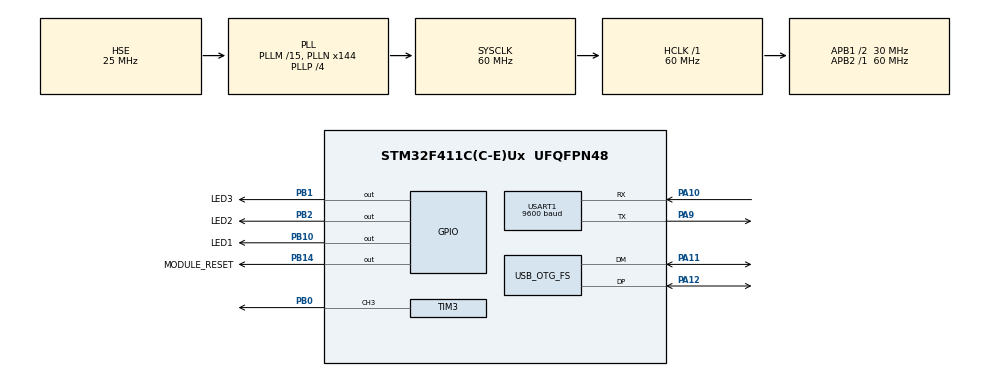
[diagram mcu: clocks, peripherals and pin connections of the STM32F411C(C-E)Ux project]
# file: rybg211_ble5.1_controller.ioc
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Dma.Request0=USART1_RX
Dma.Request1=USART1_TX
Dma.USART1_RX.0.Direction=DMA_PERIPH_TO_MEMORY
Dma.USART1_RX.0.FIFOMode=DMA_FIFOMODE_DISABLE
Dma.USART1_RX.0.Instance=DMA2_Stream2
Dma.USART1_RX.0.MemDataAlignment=DMA_MDATAALIGN_BYTE
Dma.USART1_RX.0.MemInc=DMA_MINC_ENABLE
Dma.USART1_RX.0.Mode=DMA_NORMAL
Dma.USART1_RX.0.PeriphDataAlignment=DMA_PDATAALIGN_BYTE
Dma.USART1_RX.0.PeriphInc=DMA_PINC_DISABLE
Dma.USART1_RX.0.Priority=DMA_PRIORITY_LOW
Dma.USART1_TX.1.Direction=DMA_MEMORY_TO_PERIPH
Dma.USART1_TX.1.FIFOMode=DMA_FIFOMODE_DISABLE
Dma.USART1_TX.1.Instance=DMA2_Stream7
Dma.USART1_TX.1.MemDataAlignment=DMA_MDATAALIGN_BYTE
Dma.USART1_TX.1.MemInc=DMA_MINC_ENABLE
Dma.USART1_TX.1.Mode=DMA_NORMAL
Dma.USART1_TX.1.PeriphDataAlignment=DMA_PDATAALIGN_BYTE
Dma.USART1_TX.1.PeriphInc=DMA_PINC_DISABLE
Dma.USART1_TX.1.Priority=DMA_PRIORITY_LOW
Mcu.Family=STM32F4
Mcu.Name=STM32F411C(C-E)Ux
Mcu.Package=UFQFPN48
NVIC.DMA2_Stream2_IRQn=true\:0\:0\:false\:false\:true\:false\:true\:true
NVIC.DMA2_Stream7_IRQn=true\:0\:0\:false\:false\:true\:false\:true\:true
NVIC.OTG_FS_IRQn=true\:0\:0\:false\:false\:true\:false\:true\:true
NVIC.PriorityGroup=NVIC_PRIORITYGROUP_4
NVIC.USART1_IRQn=true\:0\:0\:false\:false\:true\:true\:true\:true
PA10.Mode=Asynchronous
PA10.Signal=USART1_RX
PA11.Mode=Device_Only
PA11.Signal=USB_OTG_FS_DM
PA12.Mode=Device_Only
PA12.Signal=USB_OTG_FS_DP
PA13.Mode=Serial_Wire
PA13.Signal=SYS_JTMS-SWDIO
PA14.Mode=Serial_Wire
PA14.Signal=SYS_JTCK-SWCLK
PA9.Mode=Asynchronous
PA9.Signal=USART1_TX
PB0.Signal=S_TIM3_CH3
PB1.GPIO_Label=LED3
PB1.Signal=GPIO_Output
PB10.GPIO_Label=LED1
PB10.Signal=GPIO_Output
PB14.GPIO_Label=MODULE_RESET
PB14.Signal=GPIO_Output
PB2.GPIO_Label=LED2
PB2.Signal=GPIO_Output
PH0\ -\ OSC_IN.Mode=HSE-External-Oscillator
PH0\ -\ OSC_IN.Signal=RCC_OSC_IN
PH1\ -\ OSC_OUT.Mode=HSE-External-Oscillator
PH1\ -\ OSC_OUT.Signal=RCC_OSC_OUT
ProjectManager.HeapSize=0x200
ProjectManager.StackSize=0x400
ProjectManager.TargetToolchain=STM32CubeIDE
RCC.48MHZClocksFreq_Value=48000000
RCC.AHBFreq_Value=60000000
RCC.APB1CLKDivider=RCC_HCLK_DIV2
RCC.APB1Freq_Value=30000000
RCC.APB1TimFreq_Value=60000000
RCC.APB2Freq_Value=60000000
RCC.APB2TimFreq_Value=60000000
RCC.CortexFreq_Value=60000000
RCC.HCLKFreq_Value=60000000
RCC.HSE_VALUE=25000000
RCC.HSI_VALUE=16000000
RCC.LSE_VALUE=32768
RCC.PLLM=15
RCC.PLLN=144
RCC.PLLP=RCC_PLLP_DIV4
RCC.PLLQ=5
RCC.SYSCLKFreq_VALUE=60000000
RCC.SYSCLKSource=RCC_SYSCLKSOURCE_PLLCLK
RCC.VCOOutputFreq_Value=240000000
SH.S_TIM3_CH3.0=TIM3_CH3,PWM Generation3 CH3
TIM3.Channel-PWM\ Generation3\ CH3=TIM_CHANNEL_3
TIM3.Period=1000-1
TIM3.Prescaler=1000-1
USART1.BaudRate=9600
USART1.VirtualMode=VM_ASYNC
USB_DEVICE.CLASS_NAME_FS=CDC
USB_DEVICE.MANUFACTURER_STRING=UsefulElectronics
USB_DEVICE.PRODUCT_STRING_CDC_FS=BLE Bridge
USB_DEVICE.VirtualMode=Cdc
USB_DEVICE.VirtualModeFS=Cdc_FS
USB_OTG_FS.VirtualMode=Device_Only
VP_USB_DEVICE_VS_USB_DEVICE_CDC_FS.Mode=CDC_FS
board=custom

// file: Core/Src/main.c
/* USER CODE BEGIN Header */
/**
  ******************************************************************************
  * @file           : main.c
  * @brief          : Main program body
  ******************************************************************************
  * @attention
  *
  * Copyright (c) 2022 STMicroelectronics.
  * All rights reserved.
  *
  * This software is licensed under terms that can be found in the LICENSE file
  * in the root directory of this software component.
  * If no LICENSE file comes with this software, it is provided AS-IS.
  *
  ******************************************************************************
  */
/* USER CODE END Header */
#include "main.h"
#include "usb_device.h"

/* USER CODE BEGIN Includes */
#include "rybg211.h"
#include "usbd_cdc_if.h"
/* USER CODE END Includes */

 TIM_HandleTypeDef htim3;

UART_HandleTypeDef huart1;
DMA_HandleTypeDef hdma_usart1_rx;
DMA_HandleTypeDef hdma_usart1_tx;

/* USER CODE BEGIN PV */
hCommonBuffer_t hBridge;
/* USER CODE END PV */

void SystemClock_Config(void);
static void MX_GPIO_Init(void);
static void MX_DMA_Init(void);
static void MX_USART1_UART_Init(void);
static void MX_TIM3_Init(void);
/* USER CODE BEGIN PFP */
static void main_UartTxTask				(void);
static void main_UartRxTask				(void);
static void main_bridgeDataTransfare	(void);
static void main_bleCommandControl		(uint8_t* cmd);
static void main_setLedBrightness		(uint8_t dutyValue);
static void main_UsbRxTask				(char* cdcRxBuffer, uint16_t packetSize);
/* USER CODE END PFP */

int main(void)
{

  /* MCU Configuration--------------------------------------------------------*/

  /* Reset of all peripherals, Initializes the Flash interface and the Systick. */
  HAL_Init();

  /* Configure the system clock */
  SystemClock_Config();

  /* Initialize all configured peripherals */
  MX_GPIO_Init();
  MX_DMA_Init();
  MX_USART1_UART_Init();
  MX_USB_DEVICE_Init();
  MX_TIM3_Init();
  /* USER CODE BEGIN 2 */

  CDC_Handler_Init_FS	(main_UsbRxTask);

  rybg211_bleModuleInit();

  rybg211_setOutputPower(hBleModule.txBuffer, 20);
//  rybg211_setDeviceName(hBleModule.txBuffer, "BLE Bridge");

  HAL_UARTEx_ReceiveToIdle_DMA(&huart1, (uint8_t*) hBleModule.rxBuffer, BLE_MODULE_BUFFER_SIZE);
  __HAL_DMA_DISABLE_IT(&hdma_usart1_rx, DMA_IT_HT);

  HAL_TIM_PWM_Start(&htim3, TIM_CHANNEL_3);
  /* USER CODE END 2 */

  /* Infinite loop */
  /* USER CODE BEGIN WHILE */
  while (1)
  {

	  main_UartTxTask();

	  main_UartRxTask();

	  main_bridgeDataTransfare();

    /* USER CODE END WHILE */

  }
}

void SystemClock_Config(void)
{
  RCC_OscInitTypeDef RCC_OscInitStruct = {0};
  RCC_ClkInitTypeDef RCC_ClkInitStruct = {0};

  /** Configure the main internal regulator output voltage
  */
  __HAL_RCC_PWR_CLK_ENABLE();
  __HAL_PWR_VOLTAGESCALING_CONFIG(PWR_REGULATOR_VOLTAGE_SCALE1);

  /** Initializes the RCC Oscillators according to the specified parameters
  * in the RCC_OscInitTypeDef structure.
  */
  RCC_OscInitStruct.OscillatorType = RCC_OSCILLATORTYPE_HSE;
  RCC_OscInitStruct.HSEState = RCC_HSE_ON;
  RCC_OscInitStruct.PLL.PLLState = RCC_PLL_ON;
  RCC_OscInitStruct.PLL.PLLSource = RCC_PLLSOURCE_HSE;
  RCC_OscInitStruct.PLL.PLLM = 15;
  RCC_OscInitStruct.PLL.PLLN = 144;
  RCC_OscInitStruct.PLL.PLLP = RCC_PLLP_DIV4;
  RCC_OscInitStruct.PLL.PLLQ = 5;
  if (HAL_RCC_OscConfig(&RCC_OscInitStruct) != HAL_OK)
  {
    Error_Handler();
  }

  /** Initializes the CPU, AHB and APB buses clocks
  */
  RCC_ClkInitStruct.ClockType = RCC_CLOCKTYPE_HCLK|RCC_CLOCKTYPE_SYSCLK
                              |RCC_CLOCKTYPE_PCLK1|RCC_CLOCKTYPE_PCLK2;
  RCC_ClkInitStruct.SYSCLKSource = RCC_SYSCLKSOURCE_PLLCLK;
  RCC_ClkInitStruct.AHBCLKDivider = RCC_SYSCLK_DIV1;
  RCC_ClkInitStruct.APB1CLKDivider = RCC_HCLK_DIV2;
  RCC_ClkInitStruct.APB2CLKDivider = RCC_HCLK_DIV1;

  if (HAL_RCC_ClockConfig(&RCC_ClkInitStruct, FLASH_LATENCY_1) != HAL_OK)
  {
    Error_Handler();
  }
}

static void MX_TIM3_Init(void)
{

  TIM_MasterConfigTypeDef sMasterConfig = {0};
  TIM_OC_InitTypeDef sConfigOC = {0};

  htim3.Instance = TIM3;
  htim3.Init.Prescaler = 10000-1;
  htim3.Init.CounterMode = TIM_COUNTERMODE_UP;
  htim3.Init.Period = 100-1;
  htim3.Init.ClockDivision = TIM_CLOCKDIVISION_DIV1;
  htim3.Init.AutoReloadPreload = TIM_AUTORELOAD_PRELOAD_DISABLE;
  if (HAL_TIM_PWM_Init(&htim3) != HAL_OK)
  {
    Error_Handler();
  }
  sMasterConfig.MasterOutputTrigger = TIM_TRGO_RESET;
  sMasterConfig.MasterSlaveMode = TIM_MASTERSLAVEMODE_DISABLE;
  if (HAL_TIMEx_MasterConfigSynchronization(&htim3, &sMasterConfig) != HAL_OK)
  {
    Error_Handler();
  }
  sConfigOC.OCMode = TIM_OCMODE_PWM1;
  sConfigOC.Pulse = 10;
  sConfigOC.OCPolarity = TIM_OCPOLARITY_HIGH;
  sConfigOC.OCFastMode = TIM_OCFAST_DISABLE;
  if (HAL_TIM_PWM_ConfigChannel(&htim3, &sConfigOC, TIM_CHANNEL_3) != HAL_OK)
  {
    Error_Handler();
  }
  HAL_TIM_MspPostInit(&htim3);

}

static void MX_USART1_UART_Init(void)
{

  huart1.Instance = USART1;
  huart1.Init.BaudRate = 9600;
  huart1.Init.WordLength = UART_WORDLENGTH_8B;
  huart1.Init.StopBits = UART_STOPBITS_1;
  huart1.Init.Parity = UART_PARITY_NONE;
  huart1.Init.Mode = UART_MODE_TX_RX;
  huart1.Init.HwFlowCtl = UART_HWCONTROL_NONE;
  huart1.Init.OverSampling = UART_OVERSAMPLING_16;
  if (HAL_UART_Init(&huart1) != HAL_OK)
  {
    Error_Handler();
  }

}

static void MX_DMA_Init(void)
{

  /* DMA controller clock enable */
  __HAL_RCC_DMA2_CLK_ENABLE();

  /* DMA interrupt init */
  /* DMA2_Stream2_IRQn interrupt configuration */
  HAL_NVIC_SetPriority(DMA2_Stream2_IRQn, 0, 0);
  HAL_NVIC_EnableIRQ(DMA2_Stream2_IRQn);
  /* DMA2_Stream7_IRQn interrupt configuration */
  HAL_NVIC_SetPriority(DMA2_Stream7_IRQn, 0, 0);
  HAL_NVIC_EnableIRQ(DMA2_Stream7_IRQn);

}

static void MX_GPIO_Init(void)
{
  GPIO_InitTypeDef GPIO_InitStruct = {0};

  /* GPIO Ports Clock Enable */
  __HAL_RCC_GPIOH_CLK_ENABLE();
  __HAL_RCC_GPIOB_CLK_ENABLE();
  __HAL_RCC_GPIOA_CLK_ENABLE();

  /*Configure GPIO pin Output Level */
  HAL_GPIO_WritePin(GPIOB, LED3_Pin|LED2_Pin|LED1_Pin|MODULE_RESET_Pin, GPIO_PIN_RESET);

  /*Configure GPIO pins : LED3_Pin LED2_Pin LED1_Pin MODULE_RESET_Pin */
  GPIO_InitStruct.Pin = LED3_Pin|LED2_Pin|LED1_Pin|MODULE_RESET_Pin;
  GPIO_InitStruct.Mode = GPIO_MODE_OUTPUT_PP;
  GPIO_InitStruct.Pull = GPIO_NOPULL;
  GPIO_InitStruct.Speed = GPIO_SPEED_FREQ_LOW;
  HAL_GPIO_Init(GPIOB, &GPIO_InitStruct);

}

/* USER CODE BEGIN 4 */
void HAL_UARTEx_RxEventCallback(UART_HandleTypeDef *huart, uint16_t Size)
{
	hBleModule.controlFlags.flag.packetReceived = ENABLE;

	HAL_UARTEx_ReceiveToIdle_DMA(&huart1, (uint8_t*) hBleModule.rxBuffer, BLE_MODULE_BUFFER_SIZE);

	hBleModule.rxPacketSize = Size;

	__HAL_DMA_DISABLE_IT(&hdma_usart1_rx, DMA_IT_HT);
}

/**
 * @brief Module AT UART command transmission task
 *
 */
static void main_UartTxTask()
{
	if(hBleModule.controlFlags.flag.packetToTransmit && (HAL_GetTick() - hBleModule.txTimer > 1000))
	{
		HAL_UART_Transmit_DMA(&huart1, (uint8_t*) hBleModule.txBuffer, hBleModule.txPacketSize);

		hBleModule.controlFlags.flag.packetToTransmit = DISABLE;

		hBleModule.txTimer = HAL_GetTick();
	}
}
/**
 * @brief Module AT UART reception task
 *
 */
static void main_UartRxTask()
{
	if(hBleModule.controlFlags.flag.packetReceived)
	{
		if(rybg211_rxPacketParser(hBleModule.rxBuffer, hBleModule.rxPacketSize))
		{
			hBridge.blePacketSize = (uint16_t)rybg211_rxDataRead(hBleModule.rxBuffer, hBridge.bleBuffer);

			if(CDC_UsbConnectionCheck())
			{
				hBridge.controlFlags.flag.bleToUsb = ENABLE;
			}
			else
			{
				main_bleCommandControl((uint8_t*) hBridge.bleBuffer);
			}

		}

		hBleModule.controlFlags.flag.packetReceived = DISABLE;

	}
}
/**
 * @brief 	This is a call back function passed to the CDC handler to it is called every time a packet is received over USB
 *
 * @param 	cdcRxBuffer	:	Buffer will carry the data received over USB.
 *
 * @param 	packetSize	:	The size of the received packet.
 */
static void main_UsbRxTask(char* cdcRxBuffer, uint16_t packetSize)
{
	if(hBleModule.ConnectedDevice)
	{
		memcpy(hBridge.usbBuffer, cdcRxBuffer, packetSize);

		hBridge.usbPacketSize = packetSize;

		hBridge.controlFlags.flag.usbToBle = ENABLE;
	}
	else
	{
		CDC_Transmit_FS(BLE_NO_CONNECTION_MESSAGE, strlen(BLE_NO_CONNECTION_MESSAGE));
	}
}

static void main_bridgeDataTransfare()
{
	if(hBridge.controlFlags.flag.bleToUsb)
	{
		hBridge.controlFlags.flag.bleToUsb = DISABLE;

		//Place feedline character at the end of the packet and increment the size by 1.
		hBridge.bleBuffer[hBridge.blePacketSize++] = '\n';

		CDC_Transmit_FS((uint8_t*) hBridge.bleBuffer, (uint16_t)hBridge.blePacketSize);
	}
	else if(hBridge.controlFlags.flag.usbToBle)
	{
		rybg211_txDataSend(hBridge.usbBuffer, hBridge.usbPacketSize);

		HAL_UART_Transmit_DMA(&huart1, (uint8_t*) hBleModule.txBuffer, hBleModule.txPacketSize);

		hBridge.controlFlags.flag.usbToBle = DISABLE;
	}
}

static void main_bleCommandControl(uint8_t* cmd)
{
	uint8_t bleCommand = cmd[0];
	switch (bleCommand)
	{
		case BLE_CMD_0:
			HAL_GPIO_WritePin(GPIOB, LED1_Pin, GPIO_PIN_RESET);
			HAL_GPIO_WritePin(GPIOB, LED2_Pin, GPIO_PIN_RESET);
			HAL_GPIO_WritePin(GPIOB, LED3_Pin, GPIO_PIN_RESET);
			break;
		case BLE_CMD_1:
			HAL_GPIO_TogglePin(GPIOB, LED1_Pin);
			break;
		case BLE_CMD_2:
			HAL_GPIO_TogglePin(GPIOB, LED2_Pin);
			break;
		case BLE_CMD_3:
			HAL_GPIO_TogglePin(GPIOB, LED3_Pin);
			break;
		case BLE_CMD_4:
			main_setLedBrightness(cmd[1]);
			break;
		default:
			break;
	}
}

static void main_setLedBrightness(uint8_t dutyValue)
{
	htim3.Instance->CCR3 = dutyValue;
}
/* USER CODE END 4 */

void Error_Handler(void)
{
  __disable_irq();
  while (1)
  {
  }
}
